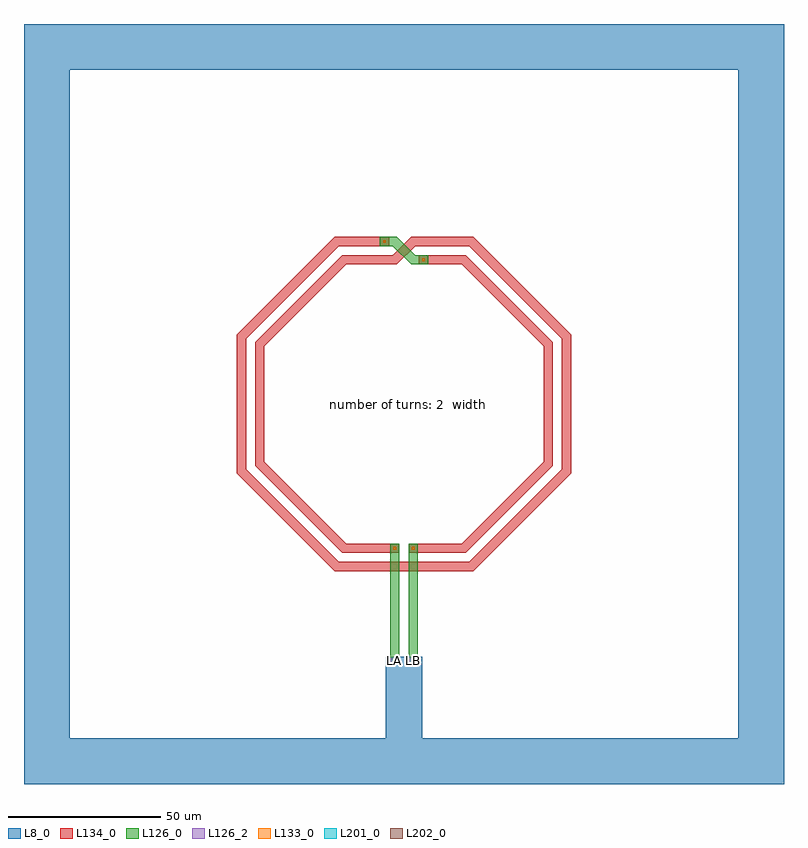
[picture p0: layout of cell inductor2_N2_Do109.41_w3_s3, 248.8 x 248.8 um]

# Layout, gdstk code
import gdstk
lib = gdstk.Library(unit=1e-6, precision=1e-09)
def R(c, l, rs):  # rectangles x0, y0, x1, y1
    for r in rs: c.add(gdstk.rectangle(r[:2], r[2:], *l))
def P(c, l, *ps):  # polygons
    for p in ps: c.add(gdstk.Polygon(p, *l))
L8_0 = (8, 0)
L126_0 = (126, 0)
L126_2 = (126, 2)
L133_0 = (133, 0)
L134_0 = (134, 0)
L201_0 = (201, 0)
L202_0 = (202, 0)

inductor2_n2_do109_41_w3 = lib.new_cell('inductor2_N2_Do109.41_w3_s3')
R(inductor2_n2_do109_41_w3, L8_0, [(-124.4,-124.4,-109.4,124.4), (-109.4,-124.4,109.4,-109.4), (109.4,-124.4,124.4,124.4), (-6,-109.4,6,-82.7), (-109.4,109.4,109.4,124.4)])
R(inductor2_n2_do109_41_w3, L126_0, [(-4.5,-84.7,-1.5,-45.7), (1.5,-84.7,4.5,-45.7)])
P(inductor2_n2_do109_41_w3, L126_0, [(-7.86,54.7),(-7.86,51.7),(-3.621,51.7),(2.379,45.7),(7.86,45.7),(7.86,48.7),(3.621,48.7),(-2.379,54.7)])
R(inductor2_n2_do109_41_w3, L126_2, [(-4.5,-84.7,-1.5,-83.2), (1.5,-84.7,4.5,-83.2)])
R(inductor2_n2_do109_41_w3, L133_0, [(-3.45,-47.65,-2.55,-46.75), (2.55,-47.65,3.45,-46.75), (5.92,46.75,6.82,47.65), (-6.82,52.75,-5.92,53.65)])
R(inductor2_n2_do109_41_w3, L134_0, [(-7.865,-54.7,7.865,-51.7)])
P(inductor2_n2_do109_41_w3, L134_0, [(-4.86,-54.7),(-4.86,-51.7),(-21.419,-51.7),(-51.7,-21.419),(-51.7,3),(-54.7,3),(-54.7,-22.661),(-22.661,-54.7)],
  [(-4.86,51.7),(-4.86,54.7),(-22.661,54.7),(-54.7,22.661),(-54.7,-3),(-51.7,-3),(-51.7,21.419),(-21.419,51.7)],
  [(4.86,-51.7),(4.86,-54.7),(22.661,-54.7),(54.7,-22.661),(54.7,3),(51.7,3),(51.7,-21.419),(21.419,-51.7)],
  [(4.86,54.7),(4.86,51.7),(21.419,51.7),(51.7,21.419),(51.7,-3),(54.7,-3),(54.7,22.661),(22.661,54.7)],
  [(-1.5,-48.7),(-1.5,-45.7),(-18.929,-45.7),(-45.7,-18.929),(-45.7,3),(-48.7,3),(-48.7,-20.171),(-20.171,-48.7)],
  [(-4.86,45.7),(-4.86,48.7),(-20.171,48.7),(-48.7,20.171),(-48.7,-3),(-45.7,-3),(-45.7,18.929),(-18.929,45.7)],
  [(1.5,-45.7),(1.5,-48.7),(20.171,-48.7),(48.7,-20.171),(48.7,3),(45.7,3),(45.7,-18.929),(18.929,-45.7)],
  [(4.86,48.7),(4.86,45.7),(18.929,45.7),(45.7,18.929),(45.7,-3),(48.7,-3),(48.7,20.171),(20.171,48.7)],
  [(-7.86,48.7),(-7.86,45.7),(-2.379,45.7),(3.621,51.7),(7.86,51.7),(7.86,54.7),(2.379,54.7),(-3.621,48.7)])
R(inductor2_n2_do109_41_w3, L201_0, [(-4.5,-84.7,-1.5,-84.6)])
R(inductor2_n2_do109_41_w3, L202_0, [(1.5,-84.7,4.5,-84.6)])
inductor2_n2_do109_41_w3.add(gdstk.Label('LA', (-3,-83.95), layer=27, texttype=25))
inductor2_n2_do109_41_w3.add(gdstk.Label('LB', (3,-83.95), layer=27, texttype=25))
inductor2_n2_do109_41_w3.add(gdstk.Label('  number of turns: 2\n  width: 3.00\n  spacing: 3.00\n  outer diameter: 109.40\n  inner diameter: 91.40\n', (0,0), layer=63, texttype=0))

lib.write_gds('inductor2_N2_Do109.41_w3_s3.gds')
